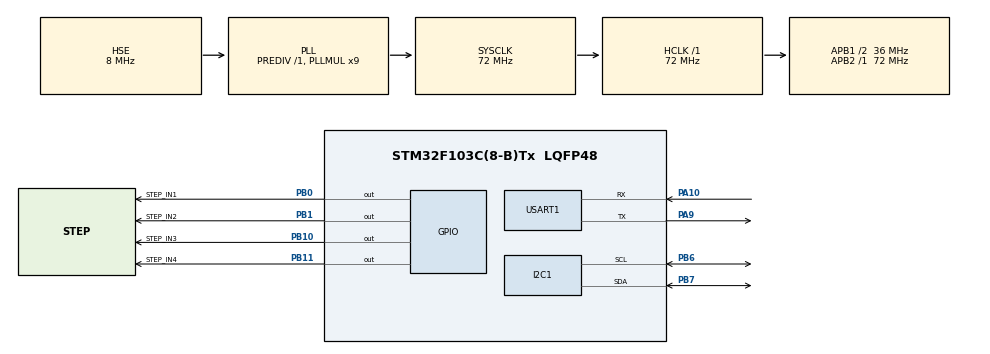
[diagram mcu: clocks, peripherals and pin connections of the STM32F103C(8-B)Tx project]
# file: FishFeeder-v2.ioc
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Mcu.Family=STM32F1
Mcu.Name=STM32F103C(8-B)Tx
Mcu.Package=LQFP48
NVIC.PriorityGroup=NVIC_PRIORITYGROUP_4
PA10.Mode=Asynchronous
PA10.Signal=USART1_RX
PA13.Mode=Serial_Wire
PA13.Signal=SYS_JTMS-SWDIO
PA14.Mode=Serial_Wire
PA14.Signal=SYS_JTCK-SWCLK
PA9.Mode=Asynchronous
PA9.Signal=USART1_TX
PB0.GPIO_Label=STEP_IN1
PB0.Signal=GPIO_Output
PB1.GPIO_Label=STEP_IN2
PB1.Signal=GPIO_Output
PB10.GPIO_Label=STEP_IN3
PB10.Signal=GPIO_Output
PB11.GPIO_Label=STEP_IN4
PB11.Signal=GPIO_Output
PB6.Mode=I2C
PB6.Signal=I2C1_SCL
PB7.Mode=I2C
PB7.Signal=I2C1_SDA
PD0-OSC_IN.Mode=HSE-External-Oscillator
PD0-OSC_IN.Signal=RCC_OSC_IN
PD1-OSC_OUT.Mode=HSE-External-Oscillator
PD1-OSC_OUT.Signal=RCC_OSC_OUT
ProjectManager.HeapSize=0x200
ProjectManager.StackSize=0x400
ProjectManager.TargetToolchain=MDK-ARM V5.32
RCC.AHBFreq_Value=72000000
RCC.APB1CLKDivider=RCC_HCLK_DIV2
RCC.APB1Freq_Value=36000000
RCC.APB1TimFreq_Value=72000000
RCC.APB2Freq_Value=72000000
RCC.APB2TimFreq_Value=72000000
RCC.HCLKFreq_Value=72000000
RCC.PLLMUL=RCC_PLL_MUL9
RCC.PLLSourceVirtual=RCC_PLLSOURCE_HSE
RCC.SYSCLKFreq_VALUE=72000000
RCC.SYSCLKSource=RCC_SYSCLKSOURCE_PLLCLK
RCC.USBFreq_Value=72000000
USART1.VirtualMode=VM_ASYNC
board=custom

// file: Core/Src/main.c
/* USER CODE BEGIN Header */
/**
  ******************************************************************************
  * @file           : main.c
  * @brief          : Main program body
  ******************************************************************************
  * @attention
  *
  * Copyright (c) 2026 STMicroelectronics.
  * All rights reserved.
  *
  * This software is licensed under terms that can be found in the LICENSE file
  * in the root directory of this software component.
  * If no LICENSE file comes with this software, it is provided AS-IS.
  *
  ******************************************************************************
  */
/* USER CODE END Header */
#include "main.h"
#include "i2c.h"
#include "usart.h"
#include "gpio.h"

/* USER CODE BEGIN Includes */
#include "stepper.h"
#include "ds3231.h"
#include <stdio.h>
#include <stdarg.h>
/* USER CODE END Includes */

/* USER CODE BEGIN PV */

/* ================= 调试 ================= */

#define DEBUG_PRINT_ENABLE          1
/*
 * 步进电机开机调试
 *
 * 1 = 每次开机 / Reset 后，自动运行 FEED_STEPS 步
 * 0 = 关闭
 */
#define STEPPER_DEBUG_ENABLE        0

/* ================= 步进电机 ================= */

#define FEED_STEPS                  15000
#define STEPPER_DELAY_MS            2
#define FEED_DIRECTION              1

/* ================= DS3231 校时 ================= */

/*
 * 需要校时时改成 1
 * 校准完成后一定改回 0
 */
#define RTC_SET_TIME_ON_BOOT        0

#define RTC_SET_YEAR                2026
#define RTC_SET_MONTH               8
#define RTC_SET_DATE                20

#define RTC_SET_HOUR                13
#define RTC_SET_MINUTE              29
#define RTC_SET_SECOND              0

/* ================= 第一顿 ================= */

#define FEED1_ENABLE                1

#define FEED1_HOUR                  6
#define FEED1_MINUTE                00
#define FEED1_SECOND                0

/* ================= 第二顿 ================= */

#define FEED2_ENABLE                0

#define FEED2_HOUR                  13
#define FEED2_MINUTE                32
#define FEED2_SECOND                0

/* ================= RTC ================= */

#define RTC_CHECK_INTERVAL_MS       100

/* 当前 RTC 时间 */
static DS3231_Time rtc_time;

/* 防止一次触发多次 */
static uint8_t feed1_triggered = 0;
static uint8_t feed2_triggered = 0;

/* 每秒只打印一次 */
static uint8_t last_print_second = 0xFF;

/* RTC 读取失败时，每秒打印一次错误 */
static uint32_t last_rtc_error_tick = 0;

/* USER CODE END PV */

void SystemClock_Config(void);

/* USER CODE BEGIN 0 */

#if DEBUG_PRINT_ENABLE == 1

static void Debug_Printf(const char *format, ...)
{
    char buffer[128];
    int len;
    va_list args;

    va_start(args, format);

    len = vsnprintf(
        buffer,
        sizeof(buffer),
        format,
        args
    );

    va_end(args);

    if (len > 0)
    {
        if (len >= sizeof(buffer))
        {
            len = sizeof(buffer) - 1;
        }

        HAL_UART_Transmit(
            &huart1,
            (uint8_t *)buffer,
            (uint16_t)len,
            1000
        );
    }
}

#define DEBUG_PRINT(...) Debug_Printf(__VA_ARGS__)

#else

#define DEBUG_PRINT(...)

#endif

static void Feed(void)
{
    DEBUG_PRINT("FEED START\r\n");

#if FEED_DIRECTION == 1

    Stepper_Forward(
        FEED_STEPS,
        STEPPER_DELAY_MS
    );

#else

    Stepper_Reverse(
        FEED_STEPS,
        STEPPER_DELAY_MS
    );

#endif

    DEBUG_PRINT("FEED END\r\n");
}

/* USER CODE END 0 */

int main(void)
{

  /* MCU Configuration--------------------------------------------------------*/

  /* Reset of all peripherals, Initializes the Flash interface and the Systick. */
  HAL_Init();

  /* Configure the system clock */
  SystemClock_Config();

  /* Initialize all configured peripherals */
  MX_GPIO_Init();
  MX_I2C1_Init();
  MX_USART1_UART_Init();
/* USER CODE BEGIN 2 */

Stepper_Init();

/* =========================================================
 * 步进电机开机调试
 *
 * 每次 Reset 后只执行一次
 * ========================================================= */
#if STEPPER_DEBUG_ENABLE == 1

DEBUG_PRINT(
    "STEPPER DEBUG START, STEPS = %u\r\n",
    FEED_STEPS
);

#if FEED_DIRECTION == 1

Stepper_Forward(
    FEED_STEPS,
    STEPPER_DELAY_MS
);

#else

Stepper_Reverse(
    FEED_STEPS,
    STEPPER_DELAY_MS
);

#endif

DEBUG_PRINT(
    "STEPPER DEBUG END\r\n"
);

#endif

HAL_Delay(200);

if (DS3231_IsReady() == HAL_OK)
{
    DEBUG_PRINT("DS3231 OK\r\n");

#if RTC_SET_TIME_ON_BOOT == 1

    if (DS3231_SetTime(
            RTC_SET_YEAR,
            RTC_SET_MONTH,
            RTC_SET_DATE,
            RTC_SET_HOUR,
            RTC_SET_MINUTE,
            RTC_SET_SECOND) == HAL_OK)
    {
        DEBUG_PRINT("RTC TIME SET OK\r\n");
    }
    else
    {
        DEBUG_PRINT("RTC TIME SET ERROR\r\n");
    }

#endif
}
else
{
    DEBUG_PRINT("DS3231 NOT FOUND\r\n");
}

/* USER CODE END 2 */

  /* Infinite loop */
  /* USER CODE BEGIN WHILE */

DEBUG_PRINT("PROGRAM START\r\n");

while (1)
{
    if (DS3231_ReadTime(&rtc_time) == HAL_OK)
    {
#if DEBUG_PRINT_ENABLE == 1

        if (rtc_time.second != last_print_second)
        {
            last_print_second = rtc_time.second;

            DEBUG_PRINT(
                "%04u-%02u-%02u %02u:%02u:%02u\r\n",
                rtc_time.year,
                rtc_time.month,
                rtc_time.date,
                rtc_time.hour,
                rtc_time.minute,
                rtc_time.second
            );
        }

#endif

#if FEED1_ENABLE == 1

        if ((rtc_time.hour   == FEED1_HOUR) &&
            (rtc_time.minute == FEED1_MINUTE) &&
            (rtc_time.second == FEED1_SECOND))
        {
            if (feed1_triggered == 0)
            {
                feed1_triggered = 1;

                DEBUG_PRINT(
                    "FEED1 TRIGGER %02u:%02u:%02u\r\n",
                    rtc_time.hour,
                    rtc_time.minute,
                    rtc_time.second
                );

                Feed();
            }
        }
        else
        {
            feed1_triggered = 0;
        }

#endif

#if FEED2_ENABLE == 1

        if ((rtc_time.hour   == FEED2_HOUR) &&
            (rtc_time.minute == FEED2_MINUTE) &&
            (rtc_time.second == FEED2_SECOND))
        {
            if (feed2_triggered == 0)
            {
                feed2_triggered = 1;

                DEBUG_PRINT(
                    "FEED2 TRIGGER %02u:%02u:%02u\r\n",
                    rtc_time.hour,
                    rtc_time.minute,
                    rtc_time.second
                );

                Feed();
            }
        }
        else
        {
            feed2_triggered = 0;
        }

#endif
    }
    else
    {
#if DEBUG_PRINT_ENABLE == 1

        if (HAL_GetTick() - last_rtc_error_tick >= 1000)
        {
            last_rtc_error_tick = HAL_GetTick();

            DEBUG_PRINT("RTC READ ERROR\r\n");
        }

#endif
    }

    HAL_Delay(RTC_CHECK_INTERVAL_MS);
}

  /* USER CODE END 3 */
}

void SystemClock_Config(void)
{
  RCC_OscInitTypeDef RCC_OscInitStruct = {0};
  RCC_ClkInitTypeDef RCC_ClkInitStruct = {0};

  /** Initializes the RCC Oscillators according to the specified parameters
  * in the RCC_OscInitTypeDef structure.
  */
  RCC_OscInitStruct.OscillatorType = RCC_OSCILLATORTYPE_HSE;
  RCC_OscInitStruct.HSEState = RCC_HSE_ON;
  RCC_OscInitStruct.HSEPredivValue = RCC_HSE_PREDIV_DIV1;
  RCC_OscInitStruct.HSIState = RCC_HSI_ON;
  RCC_OscInitStruct.PLL.PLLState = RCC_PLL_ON;
  RCC_OscInitStruct.PLL.PLLSource = RCC_PLLSOURCE_HSE;
  RCC_OscInitStruct.PLL.PLLMUL = RCC_PLL_MUL9;
  if (HAL_RCC_OscConfig(&RCC_OscInitStruct) != HAL_OK)
  {
    Error_Handler();
  }

  /** Initializes the CPU, AHB and APB buses clocks
  */
  RCC_ClkInitStruct.ClockType = RCC_CLOCKTYPE_HCLK|RCC_CLOCKTYPE_SYSCLK
                              |RCC_CLOCKTYPE_PCLK1|RCC_CLOCKTYPE_PCLK2;
  RCC_ClkInitStruct.SYSCLKSource = RCC_SYSCLKSOURCE_PLLCLK;
  RCC_ClkInitStruct.AHBCLKDivider = RCC_SYSCLK_DIV1;
  RCC_ClkInitStruct.APB1CLKDivider = RCC_HCLK_DIV2;
  RCC_ClkInitStruct.APB2CLKDivider = RCC_HCLK_DIV1;

  if (HAL_RCC_ClockConfig(&RCC_ClkInitStruct, FLASH_LATENCY_2) != HAL_OK)
  {
    Error_Handler();
  }
}

void Error_Handler(void)
{
  __disable_irq();
  while (1)
  {
  }
}
